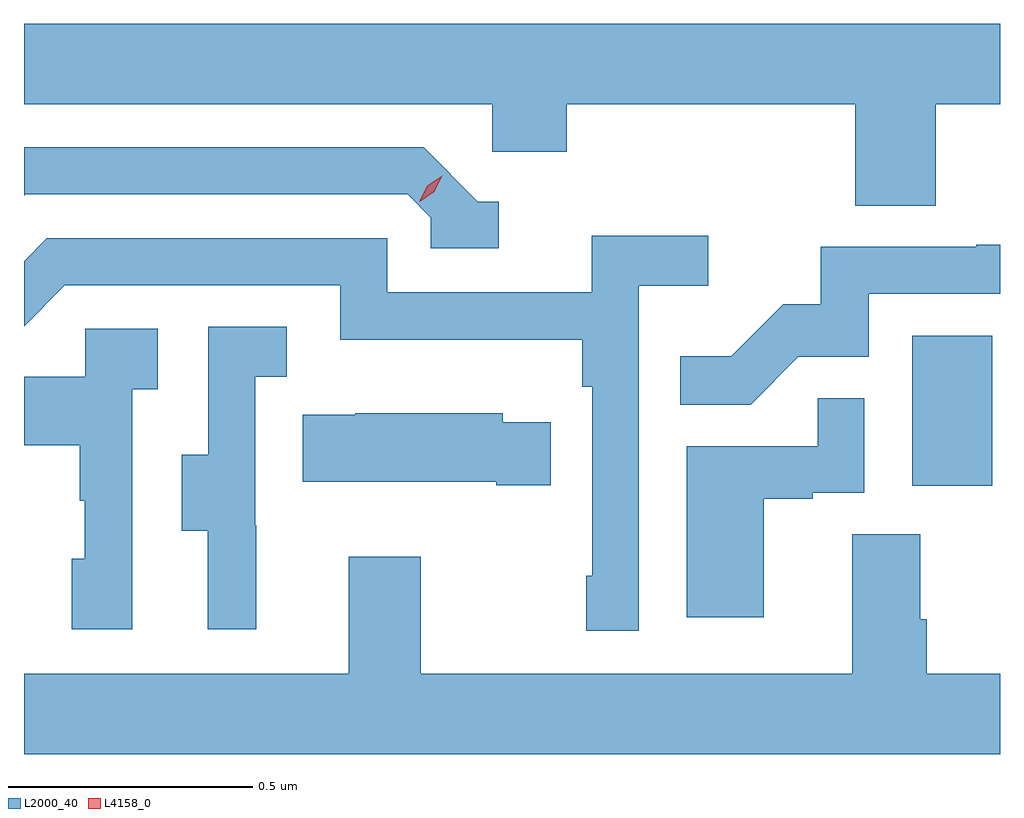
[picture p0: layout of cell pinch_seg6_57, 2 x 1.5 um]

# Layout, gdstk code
import gdstk
lib = gdstk.Library(unit=1e-6, precision=1e-09)
def R(c, l, rs):  # rectangles x0, y0, x1, y1
    for r in rs: c.add(gdstk.rectangle(r[:2], r[2:], *l))
def P(c, l, *ps):  # polygons
    for p in ps: c.add(gdstk.Polygon(p, *l))
L2000_40 = (2000, 40)
L4158_0 = (4158, 0)

pinch_seg6_57 = lib.new_cell('pinch_seg6_57')
R(pinch_seg6_57, L2000_40, [(1006.964,937.23,1007.128,937.537)])
P(pinch_seg6_57, L2000_40, [(1007.012,938.012),(1007.144,938.012),(1007.144,938.176),(1005.144,938.176),(1005.144,938.012),(1006.104,938.012),(1006.104,937.914),(1006.256,937.914),(1006.256,938.012),(1006.847,938.012),(1006.847,937.804),(1007.012,937.804)],
  [(1006.117,937.812),(1006.074,937.812),(1005.963,937.923),(1005.144,937.923),(1005.144,937.824),(1005.147,937.827),(1005.93,937.827),(1005.978,937.779),(1005.978,937.716),(1006.117,937.716)],
  [(1006.404,937.64),(1006.546,937.64),(1006.546,937.742),(1006.307,937.742),(1006.307,937.626),(1005.888,937.626),(1005.888,937.737),(1005.191,937.737),(1005.144,937.69),(1005.144,937.557),(1005.228,937.641),(1005.792,937.641),(1005.792,937.529),(1006.288,937.529),(1006.288,937.433),(1006.308,937.433),(1006.308,937.045),(1006.296,937.045),(1006.296,936.933),(1006.404,936.933)],
  [(1006.731,937.494),(1006.875,937.494),(1006.875,937.623),(1007.144,937.623),(1007.144,937.724),(1007.095,937.724),(1007.095,937.719),(1006.777,937.719),(1006.777,937.602),(1006.7,937.602),(1006.593,937.495),(1006.489,937.495),(1006.489,937.396),(1006.633,937.396)],
  [(1005.62,937.149),(1005.618,937.149),(1005.618,937.453),(1005.682,937.453),(1005.682,937.556),(1005.522,937.556),(1005.522,937.293),(1005.467,937.293),(1005.467,937.138),(1005.521,937.138),(1005.521,936.936),(1005.62,936.936)],
  [(1005.366,937.427),(1005.418,937.427),(1005.418,937.551),(1005.27,937.551),(1005.27,937.453),(1005.144,937.453),(1005.144,937.313),(1005.258,937.313),(1005.258,937.199),(1005.268,937.199),(1005.268,937.08),(1005.242,937.08),(1005.242,936.936),(1005.366,936.936)],
  [(1006.66,937.203),(1006.76,937.203),(1006.76,937.215),(1006.866,937.215),(1006.866,937.409),(1006.771,937.409),(1006.771,937.311),(1006.502,937.311),(1006.502,936.96),(1006.66,936.96)],
  [(1006.223,937.36),(1006.125,937.36),(1006.125,937.378),(1005.823,937.378),(1005.823,937.375),(1005.715,937.375),(1005.715,937.238),(1006.112,937.238),(1006.112,937.231),(1006.223,937.231)],
  [(1007.144,936.844),(1006.994,936.844),(1006.994,936.956),(1006.981,936.956),(1006.981,937.13),(1006.841,937.13),(1006.841,936.844),(1005.957,936.844),(1005.957,937.084),(1005.809,937.084),(1005.809,936.844),(1005.144,936.844),(1005.144,936.68),(1007.144,936.68)])
P(pinch_seg6_57, L4158_0, [(1005.955,937.812),(1005.955,937.813),(1005.97,937.845),(1006.001,937.865),(1006.001,937.865),(1006.001,937.865),(1005.985,937.832),(1005.955,937.812)])

lib.write_gds('pinch_seg6_57.gds')
